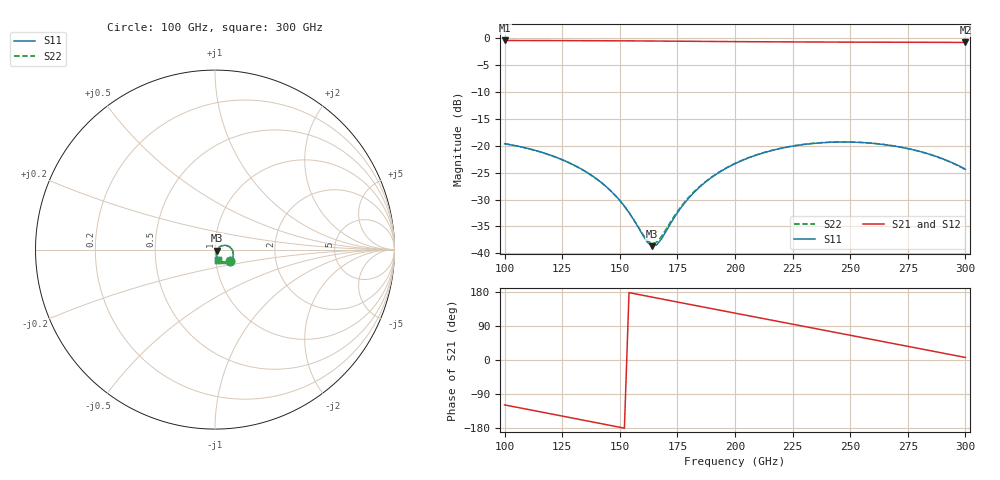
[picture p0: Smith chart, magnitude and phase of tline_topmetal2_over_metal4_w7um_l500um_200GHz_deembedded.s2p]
! Created with skrf 2.2.0 (http://scikit-rf.org).
# GHz S DB R 50.0
! Port[1] = P1
! Port[2] = P2
!freq dBS11 angS11 dBS21 angS21 dBS12 angS12 dBS22 angS22
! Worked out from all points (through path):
!   101 points, 100 GHz to 300 GHz, reference 50 ohm
!   highest |S21| = -0.47 dB at 100 GHz (marker M1); lowest = -0.8 dB at 300 GHz (marker M2)
!   group delay of S21, straight-line fit = 3.26 ps
!   lowest |S11| = -38.7 dB at 164 GHz (marker M3), VSWR 1.02, Z = 51 - j0.538 ohm
!   |S11| at or under -10 dB: start of sweep to end of sweep
!   |S22| runs from -38.2 to -19.3 dB; largest |S21 - S12| = 1.1e-14
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100  -19.65 -37.6  -0.47 -118.5  -0.47 -118.5  -19.66 -37.7
108  -20.31 -45.4  -0.48 -127.9  -0.48 -127.9  -20.32 -45.6
118  -21.49 -55.0  -0.49 -139.7  -0.49 -139.7  -21.51 -55.1
134  -24.51 -68.6  -0.51 -158.6  -0.51 -158.6  -24.54 -68.5
142  -26.85 -73.6  -0.53 -168.0  -0.53 -168.0  -26.88 -73.2
148  -29.22 -75.1  -0.54 -175.1  -0.54 -175.1  -29.25 -74.5
154  -32.42 -72.0  -0.55 177.8  -0.55 177.8  -32.42 -70.8
162  -37.94 -43.0  -0.57 168.3  -0.57 168.3  -37.64 -41.0
164  -38.66 -26.8  -0.58 166.0  -0.58 166.0  -38.22 -25.4
166  -38.44 -9.6  -0.58 163.6  -0.58 163.6  -37.93 -9.2
168  -37.39 5.0  -0.59 161.2  -0.59 161.2  -36.92 4.3
176  -31.85 28.8  -0.61 151.8  -0.61 151.8  -31.64 27.3
182  -28.78 30.8  -0.63 144.8  -0.63 144.8  -28.65 29.4
190  -25.86 27.6  -0.66 135.4  -0.66 135.4  -25.78 26.3
200  -23.35 19.9  -0.69 123.7  -0.69 123.7  -23.30 18.7
210  -21.65 10.6  -0.71 112.0  -0.71 112.0  -21.61 9.5
218  -20.70 2.7  -0.73 102.7  -0.73 102.7  -20.66 1.6
234  -19.59 -13.5  -0.76 84.0  -0.76 84.0  -19.57 -14.7
250  -19.34 -29.7  -0.78 65.3  -0.78 65.3  -19.33 -30.9
268  -20.00 -47.4  -0.80 44.2  -0.80 44.2  -19.99 -48.9
284  -21.54 -62.1  -0.82 25.5  -0.82 25.5  -21.56 -63.9
300  -24.38 -74.0  -0.84 6.7  -0.84 6.7  -24.44 -76.4
